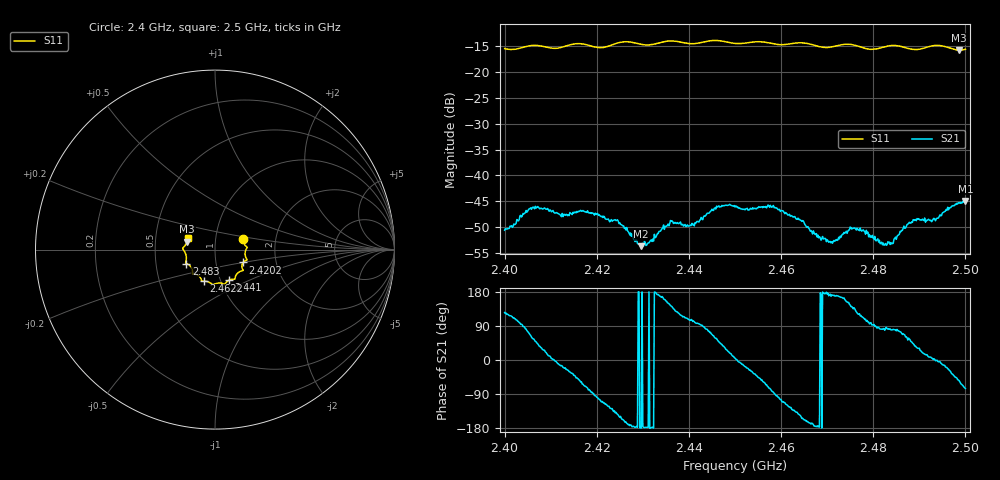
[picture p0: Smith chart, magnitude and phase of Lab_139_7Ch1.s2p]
# Hz S RI R 50
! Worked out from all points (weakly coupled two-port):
!   601 points, 2.4 GHz to 2.5 GHz, reference 50 ohm
!   highest |S21| = -44.90 dB at 2.5 GHz (marker M1); lowest = -53.6 dB at 2.4295 GHz (marker M2)
!   lowest |S11| = -15.8 dB at 2.4987 GHz (marker M3), VSWR 1.39, Z = 36.4 + j3.3 ohm
!   |S11| at or under -10 dB: start of sweep to end of sweep
!   S12 and S22 are empty: the file has one direction only
!   S11 on the Smith chart (normalised r, x): 2.4 GHz: 1.36, +0.17; 2.4202 GHz: 1.35, -0.20; 2.441 GHz: 1.10, -0.39; 2.4622 GHz: 0.83, -0.30; 2.483 GHz: 0.72, -0.12; 2.5 GHz: 0.73, +0.09
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2.4e9  0.1565 0.0604  -0.00172 0.00242  0 0  0 0
2.405833e9  0.179 0.014  0.00232 0.0041  0 0  0 0
2.416667e9  0.1776 -0.0581  0.00243 -0.00381  0 0  0 0
2.420167e9  0.1563 -0.0716  -0.000712 -0.00425  0 0  0 0
2.4245e9  0.1543 -0.1105  -0.00299 -0.00224  0 0  0 0
2.4295e9  0.1392 -0.1219  -0.00208 -5.24e-05  0 0  0 0
2.433333e9  0.113 -0.1521  -0.00273 0.000339  0 0  0 0
2.436333e9  0.1103 -0.1653  -0.00282 0.00232  0 0  0 0
2.441e9  0.077 -0.1703  -0.000761 0.0033  0 0  0 0
2.446e9  0.0519 -0.1939  0.00277 0.00423  0 0  0 0
2.45e9  0.0267 -0.1863  0.00494 0.000442  0 0  0 0
2.457833e9  -0.0237 -0.1871  0.000912 -0.0049  0 0  0 0
2.462167e9  -0.0629 -0.1764  -0.00237 -0.00334  0 0  0 0
2.466667e9  -0.0766 -0.167  -0.00279 -0.000675  0 0  0 0
2.470833e9  -0.1043 -0.1389  -0.00219 0.000462  0 0  0 0
2.4755e9  -0.1256 -0.1329  -0.00231 0.00204  0 0  0 0
2.483e9  -0.159 -0.0778  0.000278 0.00213  0 0  0 0
2.483333e9  -0.1606 -0.0772  0.000284 0.00222  0 0  0 0
2.488333e9  -0.1594 -0.0442  0.0024 0.00263  0 0  0 0
2.493167e9  -0.1793 0.00372  0.00385 0.000214  0 0  0 0
2.498667e9  -0.1558 0.0441  0.00315 -0.00448  0 0  0 0
2.5e9  -0.153 0.0625  0.00143 -0.00551  0 0  0 0
